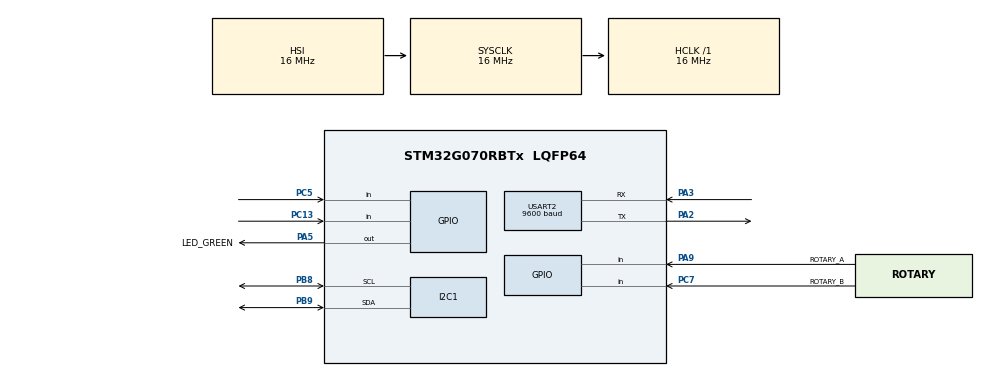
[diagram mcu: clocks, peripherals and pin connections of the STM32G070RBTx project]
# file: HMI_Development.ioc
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Mcu.Family=STM32G0
Mcu.Name=STM32G070RBTx
Mcu.Package=LQFP64
NVIC.USART2_IRQn=true\:0\:0\:false\:false\:true\:true\:true
PA2.GPIO_PuPd=GPIO_PULLUP
PA2.Mode=Asynchronous
PA2.Signal=USART2_TX
PA3.GPIO_PuPd=GPIO_PULLUP
PA3.Mode=Asynchronous
PA3.Signal=USART2_RX
PA5.GPIO_Label=LED_GREEN
PA5.GPIO_Speed=GPIO_SPEED_FREQ_HIGH
PA5.Signal=GPIO_Output
PA9.GPIO_Label=ROTARY_A
PA9.GPIO_PuPd=GPIO_PULLUP
PA9.Signal=GPIO_Input
PB8.Mode=I2C
PB8.Signal=I2C1_SCL
PB9.Mode=I2C
PB9.Signal=I2C1_SDA
PC13.GPIO_PuPd=GPIO_NOPULL
PC13.Signal=GPIO_Input
PC5.GPIO_PuPd=GPIO_PULLUP
PC5.Signal=GPIO_Input
PC7.GPIO_Label=ROTARY_B
PC7.GPIO_PuPd=GPIO_PULLUP
PC7.Signal=GPIO_Input
ProjectManager.HeapSize=0x200
ProjectManager.StackSize=0x400
ProjectManager.TargetToolchain=EWARM V8.32
RCC.AHBFreq_Value=16000000
RCC.CortexFreq_Value=16000000
RCC.EXTERNAL_CLOCK_VALUE=12288000
RCC.HCLKFreq_Value=16000000
RCC.HSE_VALUE=8000000
RCC.HSI_VALUE=16000000
RCC.LSE_VALUE=32768
RCC.SYSCLKFreq_VALUE=16000000
RCC.VCOOutputFreq_Value=128000000
USART2.BaudRate=9600
USART2.VirtualMode-Asynchronous=VM_ASYNC
USART2.WordLength=WORDLENGTH_8B
VP_SYS_VS_DBSignals.Mode=DisableDeadBatterySignals
board=NUCLEO-G070RB

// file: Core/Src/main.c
/* USER CODE BEGIN Header */
/**
  ******************************************************************************
  * @file           : main.c
  * @brief          : Main program body
  ******************************************************************************
  * @attention
  *
  * <h2><center>&copy; Copyright (c) 2021 STMicroelectronics.
  * All rights reserved.</center></h2>
  *
  * This software component is licensed by ST under BSD 3-Clause license,
  * the "License"; You may not use this file except in compliance with the
  * License. You may obtain a copy of the License at:
  *                        opensource.org/licenses/BSD-3-Clause
  *
  ******************************************************************************
  */
/* USER CODE END Header */
#include "main.h"

/* USER CODE BEGIN Includes */
#include "project.h"
#include "..\..\SSD1306\oled\inc\fonts.h"
#include "..\..\SSD1306\oled\inc\ssd1306.h"
#include "..\..\SSD1306\oled\inc\test.h"
#include "..\..\SSD1306\oled\src\bitmap.h"
#include "..\..\SSD1306\oled\src\horse_anim.h"
#include "ux_manager.h"

/* USER CODE END Includes */

/* USER CODE BEGIN PD */
#define BUTTON_PRESSED keyCode != 0x03

/* USER CODE END PD */

I2C_HandleTypeDef hi2c1;

UART_HandleTypeDef huart2;

/* USER CODE BEGIN PV */
// scheduler stuff
extern uint8_t ten_mS_Flag;
extern uint8_t twentyfive_mS_Flag;
extern uint8_t hundred_mS_Flag;
extern uint8_t one_S_Flag;

uint8_t twoHuundred_mS_Switch = false;

// keyboard stuff
uint8_t buttonDebounced = false;
uint8_t buttonProcessed = false;
uint8_t keyCode = 0x03;

/* USER CODE END PV */

void SystemClock_Config(void);
static void MX_GPIO_Init(void);
static void MX_I2C1_Init(void);
static void MX_USART2_UART_Init(void);
/* USER CODE BEGIN PFP */
uint8_t GetKeyCode(void);

/* USER CODE END PFP */

int main(void)
{

  /* MCU Configuration--------------------------------------------------------*/

  /* Reset of all peripherals, Initializes the Flash interface and the Systick. */
  HAL_Init();

  /* Configure the system clock */
  SystemClock_Config();

  /* Initialize all configured peripherals */
  MX_GPIO_Init();
  MX_I2C1_Init();
  MX_USART2_UART_Init();
  /* USER CODE BEGIN 2 */
  SSD1306_Init();  // initialise
  SSD1306_Clear();
  SSD1306_GotoXY (5,0);
  SSD1306_Puts ("Good Morning!", &Font_7x10, SSD1306_COLOR_WHITE);
  SSD1306_GotoXY (20,35);
  SSD1306_Puts ("WAKE UP!", &Font_11x18, SSD1306_COLOR_WHITE);

  SSD1306_UpdateScreen();

  HAL_Delay (5000);

  SwitchScreens(MAIN);

  /* USER CODE END 2 */

  /* Infinite loop */
  /* USER CODE BEGIN WHILE */
  while (1)
  {
    //---------------------------------
    // 10mS Tasks
    if (ten_mS_Flag) {

    }  // end of 10mS Tasks
    //---------------------------------

    //---------------------------------
    // 25mS Tasks
    if (twentyfive_mS_Flag) {
        twentyfive_mS_Flag = false;

    }  // end of 25mS Tasks
    //---------------------------------

    //---------------------------------
    // 100mS Tasks
    if (hundred_mS_Flag) {
      hundred_mS_Flag = false;

      keyCode = GetKeyCode();

      if (BUTTON_PRESSED) {
        if (buttonDebounced == true) {
          if (buttonProcessed == false) { // you only get here if the same button combination has been pressed for 100mS
            buttonProcessed = ProcessKeyCodeInContext(keyCode); // here's where we do the real work on the keyboard, and ensure we only do it once/keypress
          }
        }
        else {
          buttonDebounced = true;
        }
      }
      else {
          buttonDebounced = false;
          buttonProcessed = false;
      }

      twoHuundred_mS_Switch ^= true;

      if (twoHuundred_mS_Switch == true) {
        UpdateScreenValues();
        UpdateGraph();
      }

    }  // end of 100mS Tasks
    //---------------------------------

    //---------------------------------
    // 1 Sec Tasks
    if (one_S_Flag) {
      one_S_Flag = false;

      counter.data++;

      if((uint8_t) counter.data % 20 == 0){
        // Update graph every 20 seconds wtih a new value
        // This is for extra credit
        myGraph.data[3] = myGraph.data[3]++ % 20;
        graphUpdated = true;
      }
    } // end of 1Sec Tasks
    //---------------------------------

    //---------------------------------
    // Every time through the loop

    // end Every time through the loop
    //---------------------------------

    /* USER CODE END WHILE */

  }
}

void SystemClock_Config(void)
{
  RCC_OscInitTypeDef RCC_OscInitStruct = {0};
  RCC_ClkInitTypeDef RCC_ClkInitStruct = {0};
  RCC_PeriphCLKInitTypeDef PeriphClkInit = {0};

  /** Configure the main internal regulator output voltage
  */
  HAL_PWREx_ControlVoltageScaling(PWR_REGULATOR_VOLTAGE_SCALE1);
  /** Initializes the RCC Oscillators according to the specified parameters
  * in the RCC_OscInitTypeDef structure.
  */
  RCC_OscInitStruct.OscillatorType = RCC_OSCILLATORTYPE_HSI;
  RCC_OscInitStruct.HSIState = RCC_HSI_ON;
  RCC_OscInitStruct.HSIDiv = RCC_HSI_DIV1;
  RCC_OscInitStruct.HSICalibrationValue = RCC_HSICALIBRATION_DEFAULT;
  RCC_OscInitStruct.PLL.PLLState = RCC_PLL_NONE;
  if (HAL_RCC_OscConfig(&RCC_OscInitStruct) != HAL_OK)
  {
    Error_Handler();
  }
  /** Initializes the CPU, AHB and APB buses clocks
  */
  RCC_ClkInitStruct.ClockType = RCC_CLOCKTYPE_HCLK|RCC_CLOCKTYPE_SYSCLK
                              |RCC_CLOCKTYPE_PCLK1;
  RCC_ClkInitStruct.SYSCLKSource = RCC_SYSCLKSOURCE_HSI;
  RCC_ClkInitStruct.AHBCLKDivider = RCC_SYSCLK_DIV1;
  RCC_ClkInitStruct.APB1CLKDivider = RCC_HCLK_DIV1;

  if (HAL_RCC_ClockConfig(&RCC_ClkInitStruct, FLASH_LATENCY_0) != HAL_OK)
  {
    Error_Handler();
  }
  /** Initializes the peripherals clocks
  */
  PeriphClkInit.PeriphClockSelection = RCC_PERIPHCLK_USART2|RCC_PERIPHCLK_I2C1;
  PeriphClkInit.Usart2ClockSelection = RCC_USART2CLKSOURCE_PCLK1;
  PeriphClkInit.I2c1ClockSelection = RCC_I2C1CLKSOURCE_PCLK1;
  if (HAL_RCCEx_PeriphCLKConfig(&PeriphClkInit) != HAL_OK)
  {
    Error_Handler();
  }
}

static void MX_I2C1_Init(void)
{

  hi2c1.Instance = I2C1;
  hi2c1.Init.Timing = 0x00303D5B;
  hi2c1.Init.OwnAddress1 = 0;
  hi2c1.Init.AddressingMode = I2C_ADDRESSINGMODE_7BIT;
  hi2c1.Init.DualAddressMode = I2C_DUALADDRESS_DISABLE;
  hi2c1.Init.OwnAddress2 = 0;
  hi2c1.Init.OwnAddress2Masks = I2C_OA2_NOMASK;
  hi2c1.Init.GeneralCallMode = I2C_GENERALCALL_DISABLE;
  hi2c1.Init.NoStretchMode = I2C_NOSTRETCH_DISABLE;
  if (HAL_I2C_Init(&hi2c1) != HAL_OK)
  {
    Error_Handler();
  }
  /** Configure Analogue filter
  */
  if (HAL_I2CEx_ConfigAnalogFilter(&hi2c1, I2C_ANALOGFILTER_ENABLE) != HAL_OK)
  {
    Error_Handler();
  }
  /** Configure Digital filter
  */
  if (HAL_I2CEx_ConfigDigitalFilter(&hi2c1, 0) != HAL_OK)
  {
    Error_Handler();
  }

}

static void MX_USART2_UART_Init(void)
{

  huart2.Instance = USART2;
  huart2.Init.BaudRate = 9600;
  huart2.Init.WordLength = UART_WORDLENGTH_8B;
  huart2.Init.StopBits = UART_STOPBITS_1;
  huart2.Init.Parity = UART_PARITY_NONE;
  huart2.Init.Mode = UART_MODE_TX_RX;
  huart2.Init.HwFlowCtl = UART_HWCONTROL_NONE;
  huart2.Init.OverSampling = UART_OVERSAMPLING_16;
  huart2.Init.OneBitSampling = UART_ONE_BIT_SAMPLE_DISABLE;
  huart2.Init.ClockPrescaler = UART_PRESCALER_DIV1;
  huart2.AdvancedInit.AdvFeatureInit = UART_ADVFEATURE_NO_INIT;
  if (HAL_UART_Init(&huart2) != HAL_OK)
  {
    Error_Handler();
  }
  if (HAL_UARTEx_SetTxFifoThreshold(&huart2, UART_TXFIFO_THRESHOLD_1_8) != HAL_OK)
  {
    Error_Handler();
  }
  if (HAL_UARTEx_SetRxFifoThreshold(&huart2, UART_RXFIFO_THRESHOLD_1_8) != HAL_OK)
  {
    Error_Handler();
  }
  if (HAL_UARTEx_DisableFifoMode(&huart2) != HAL_OK)
  {
    Error_Handler();
  }

}

static void MX_GPIO_Init(void)
{
  GPIO_InitTypeDef GPIO_InitStruct = {0};

  /* GPIO Ports Clock Enable */
  __HAL_RCC_GPIOC_CLK_ENABLE();
  __HAL_RCC_GPIOA_CLK_ENABLE();
  __HAL_RCC_GPIOB_CLK_ENABLE();

  /*Configure GPIO pin Output Level */
  HAL_GPIO_WritePin(LED_GREEN_GPIO_Port, LED_GREEN_Pin, GPIO_PIN_RESET);

  /*Configure GPIO pin : PC13 */
  GPIO_InitStruct.Pin = GPIO_PIN_13;
  GPIO_InitStruct.Mode = GPIO_MODE_INPUT;
  GPIO_InitStruct.Pull = GPIO_NOPULL;
  HAL_GPIO_Init(GPIOC, &GPIO_InitStruct);

  /*Configure GPIO pin : LED_GREEN_Pin */
  GPIO_InitStruct.Pin = LED_GREEN_Pin;
  GPIO_InitStruct.Mode = GPIO_MODE_OUTPUT_PP;
  GPIO_InitStruct.Pull = GPIO_NOPULL;
  GPIO_InitStruct.Speed = GPIO_SPEED_FREQ_HIGH;
  HAL_GPIO_Init(LED_GREEN_GPIO_Port, &GPIO_InitStruct);

  /*Configure GPIO pins : PC5 ROTARY_B_Pin */
  GPIO_InitStruct.Pin = GPIO_PIN_5|ROTARY_B_Pin;
  GPIO_InitStruct.Mode = GPIO_MODE_INPUT;
  GPIO_InitStruct.Pull = GPIO_PULLUP;
  HAL_GPIO_Init(GPIOC, &GPIO_InitStruct);

  /*Configure GPIO pin : ROTARY_A_Pin */
  GPIO_InitStruct.Pin = ROTARY_A_Pin;
  GPIO_InitStruct.Mode = GPIO_MODE_INPUT;
  GPIO_InitStruct.Pull = GPIO_PULLUP;
  HAL_GPIO_Init(ROTARY_A_GPIO_Port, &GPIO_InitStruct);

}

/* USER CODE BEGIN 4 */
uint8_t GetKeyCode(void)
{
  return (HAL_GPIO_ReadPin(GPIOC, GPIO_PIN_13) << 1) | (HAL_GPIO_ReadPin(GPIOC, GPIO_PIN_5) << 0);
}
/* USER CODE END 4 */

void Error_Handler(void)
{
}

/************************ (C) COPYRIGHT STMicroelectronics *****END OF FILE****/
